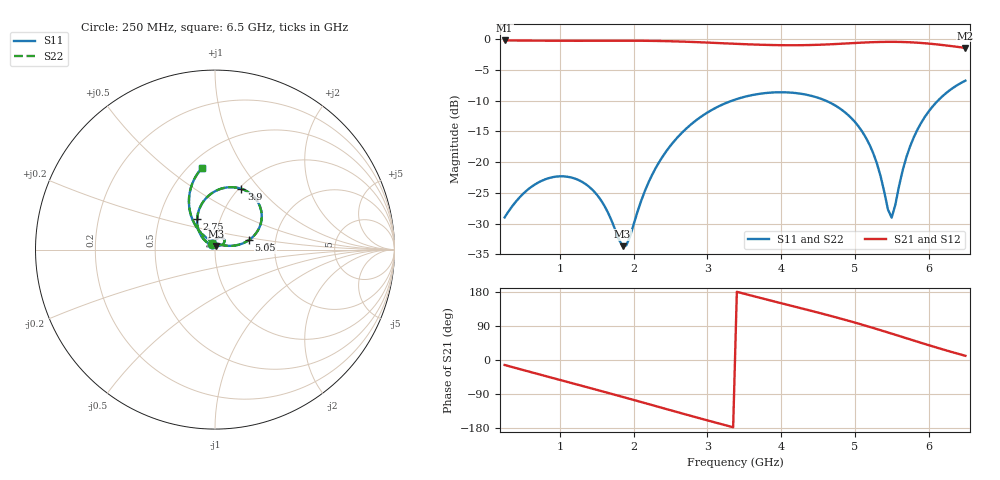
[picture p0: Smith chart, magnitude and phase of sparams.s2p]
! NobuRF kit-fr4-50-thru: ports 1 "p1", 2 "p2"; 3100 + 3100 steps
# GHz S RI R 50
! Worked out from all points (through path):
!   126 points, 250 MHz to 6.5 GHz, reference 50 ohm
!   highest |S21| = -0.20 dB at 250 MHz (marker M1); lowest = -1.4 dB at 6.5 GHz (marker M2)
!   group delay of S21, straight-line fit = 148 ps
!   lowest |S11| = -33.7 dB at 1.85 GHz (marker M3), VSWR 1.04, Z = 50.5 + j2.02 ohm
!   |S11| at or under -10 dB: start of sweep to 3.335 GHz; 4.606 GHz to 6.127 GHz (1.521 GHz wide, 28.3 % of centre)
!   |S22| runs from -33.7 to -6.7 dB; largest |S21 - S12| = 9.8e-08
!   S11 on the Smith chart (normalised r, x): 250 MHz: 0.97, +0.06; 2.75 GHz: 0.78, +0.27; 3.9 GHz: 1.03, +0.80; 5.05 GHz: 1.45, +0.16; 6.5 GHz: 0.58, +0.67
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0.25  -0.0166 0.0314  0.9516 -0.2219  0.9516 -0.2219  -0.0166 0.0314
0.5  0.00115 0.0552  0.8741 -0.4329  0.8741 -0.4329  0.00115 0.0552
0.75  0.0241 0.0661  0.7513 -0.6189  0.7513 -0.6189  0.0241 0.0661
1.3  0.0525 0.045  0.3599 -0.9018  0.3599 -0.9018  0.0525 0.045
1.6  0.0366 0.0254  0.101 -0.9665  0.101 -0.9665  0.0366 0.0254
1.85  0.00564 0.0199  -0.1242 -0.9644  -0.1242 -0.9644  0.00564 0.0199
1.9  -0.00195 0.0209  -0.1692 -0.9575  -0.1692 -0.9575  -0.00195 0.0209
2.15  -0.0426 0.039  -0.3871 -0.8902  -0.3871 -0.8902  -0.0426 0.039
2.35  -0.0726 0.0702  -0.5456 -0.7984  -0.5456 -0.7984  -0.0726 0.0702
2.75  -0.0995 0.169  -0.789 -0.5329  -0.789 -0.5329  -0.0995 0.169
3.05  -0.0744 0.2529  -0.8899 -0.2908  -0.8899 -0.2908  -0.0744 0.2529
3.4  0.00218 0.3261  -0.9167 0.000632  -0.9167 0.000632  0.00218 0.3261
3.9  0.1476 0.3383  -0.8115 0.3808  -0.8115 0.3808  0.1476 0.3383
4.45  0.2549 0.227  -0.5494 0.7115  -0.5494 0.7115  0.2549 0.227
4.8  0.2454 0.119  -0.3087 0.8644  -0.3087 0.8644  0.2454 0.119
5.05  0.1883 0.0525  -0.0975 0.9299  -0.0975 0.9299  0.1883 0.0525
5.25  0.1159 0.0235  0.0906 0.9419  0.0906 0.9419  0.1159 0.0235
5.5  0.00907 0.0342  0.3319 0.8923  0.3319 0.8923  0.00907 0.0342
5.7  -0.07 0.0848  0.5097 0.7979  0.5097 0.7979  -0.07 0.0848
5.85  -0.1145 0.1441  0.623 0.6995  0.623 0.6995  -0.1145 0.1441
6.15  -0.1442 0.2931  0.7776 0.4579  0.7776 0.4579  -0.1442 0.2931
6.5  -0.0732 0.4543  0.8341 0.1634  0.8341 0.1634  -0.0732 0.4543
